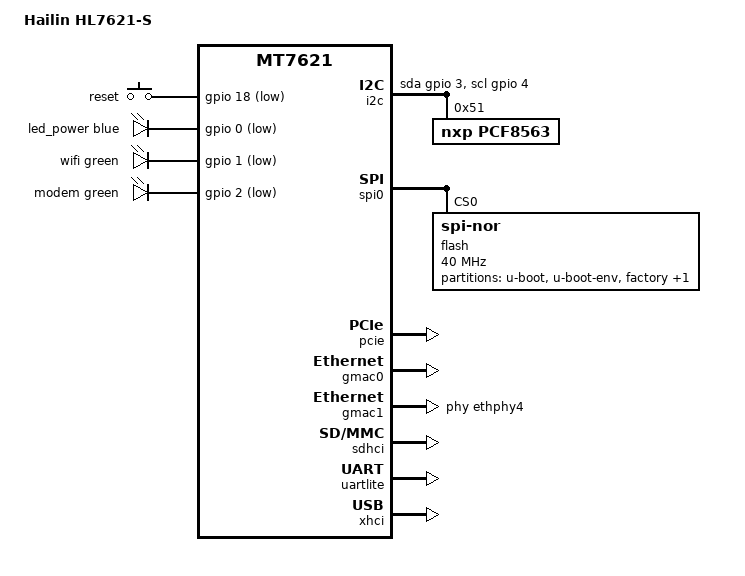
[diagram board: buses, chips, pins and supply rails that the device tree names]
// SPDX-License-Identifier: GPL-2.0-or-later
/*
 * Hailin HL7621-S MT7621 16M Flash 256M DDR3
 * U-Boot 1.1.3 old version, DO NOT add static pcie child node
 * GPIO:
 * GPIO0  -> Blue Power LED (Active Low)
 * GPIO1  -> WiFi LED (Active Low)
 * GPIO2  -> 4G Modem LED (Active Low)
 * GPIO3  -> I2C SDA for PCF8563 RTC
 * GPIO4  -> I2C SCL for PCF8563 RTC
 * GPIO13 -> 4G Modem Power Control (Output High = Power On)
 * GPIO18 -> Reset Button (Active Low)
 * GPIO19 -> PCIe WiFi PERST# (User script control, DTS no binding)
*/
#include "mt7621.dtsi"
#include <dt-bindings/gpio/gpio.h>
#include <dt-bindings/input/input.h>
#include <dt-bindings/leds/common.h>

/ {
	compatible = "hailin,hl7621-s", "mediatek,mt7621-soc";
	model = "Hailin HL7621-S";

	aliases {
		led-boot = &led_power;
		led-failsafe = &led_power;
		led-running = &led_power;
		led-upgrade = &led_power;
		label-mac-device = &gmac0;
		serial0 = &uartlite;
	};

	chosen {
		bootargs = "console=ttyS0,115200";
		stdout-path = &uartlite;
	};

	keys {
		compatible = "gpio-keys";

		reset {
			label = "reset";
			gpios = <&gpio 18 GPIO_ACTIVE_LOW>;
			linux,code = <KEY_RESTART>;
		};
	};

	leds {
		compatible = "gpio-leds";

		led_power: power {
			function = LED_FUNCTION_POWER;
			color = <LED_COLOR_ID_BLUE>;
			gpios = <&gpio 0 GPIO_ACTIVE_LOW>;
		};

		wifi {
			function = LED_FUNCTION_WLAN;
			color = <LED_COLOR_ID_GREEN>;
			gpios = <&gpio 1 GPIO_ACTIVE_LOW>;
			linux,default-trigger = "phy0tpt";
		};

		modem {
			function = LED_FUNCTION_INDICATOR;
			color = <LED_COLOR_ID_GREEN>;
			gpios = <&gpio 2 GPIO_ACTIVE_LOW>;
		};
	};

	i2c {
		compatible = "i2c-gpio";
		sda-gpios = <&gpio 3 (GPIO_ACTIVE_HIGH|GPIO_OPEN_DRAIN)>;
		scl-gpios = <&gpio 4 (GPIO_ACTIVE_HIGH|GPIO_OPEN_DRAIN)>;
		i2c-gpio,delay-us = <5>;
		#address-cells = <1>;
		#size-cells = <0>;

		pcf8563@51 {
			compatible = "nxp,pcf8563";
			reg = <0x51>;
		};
	};
};

&spi0 {
	status = "okay";

	flash@0 {
		compatible = "jedec,spi-nor";
		reg = <0>;
		spi-max-frequency = <40000000>;

		partitions {
			compatible = "fixed-partitions";
			#address-cells = <1>;
			#size-cells = <1>;

			partition@0 {
				label = "u-boot";
				reg = <0x000000 0x030000>;
				read-only;
			};

			partition@30000 {
				label = "u-boot-env";
				reg = <0x030000 0x010000>;
				read-only;
			};

			factory: partition@40000 {
				label = "factory";
				reg = <0x040000 0x010000>;
				read-only;

				nvmem-layout {
					compatible = "fixed-layout";
					#address-cells = <1>;
					#size-cells = <1>;

					eeprom_wifi: eeprom@8000 {
						reg = <0x8000 0x4da8>;
					};
					macaddr_gmac0: macaddr@e000 {
						reg = <0xe000 0x6>;
					};
				};
			};

			partition@50000 {
				compatible = "denx,uimage";
				label = "firmware";
				reg = <0x050000 0xfb0000>;
			};
		};
	};
};

&pcie {
	status = "okay";
	/* No reset-gpios here, PERST# control in user script */
};

&gmac0 {
	status = "okay";
	nvmem-cells = <&macaddr_gmac0>;
	nvmem-cell-names = "mac-address";
};

&gmac1 {
	status = "okay";
	label = "wan";
	phy-handle = <&ethphy4>;
	nvmem-cells = <&macaddr_gmac0>;
	nvmem-cell-names = "mac-address-increment";
};

&switch0 {
	ports {
		port@0 {
			status = "okay";
			label = "lan1";
		};
		port@1 {
			status = "okay";
			label = "lan2";
		};
		port@2 {
			status = "okay";
			label = "lan3";
		};
		port@3 {
			status = "okay";
			label = "lan4";
		};
		port@4 {
			status = "okay";
			phy-mode = "rgmii";
		};
	};
};

&sdhci {
	status = "okay";
};

&uartlite {
	status = "okay";
};

&xhci {
	status = "okay";
};

&state_default {
	gpio {
		groups = "wdt", "rgmii2", "jtag", "mdio", "nand";
		function = "gpio";
	};
};
